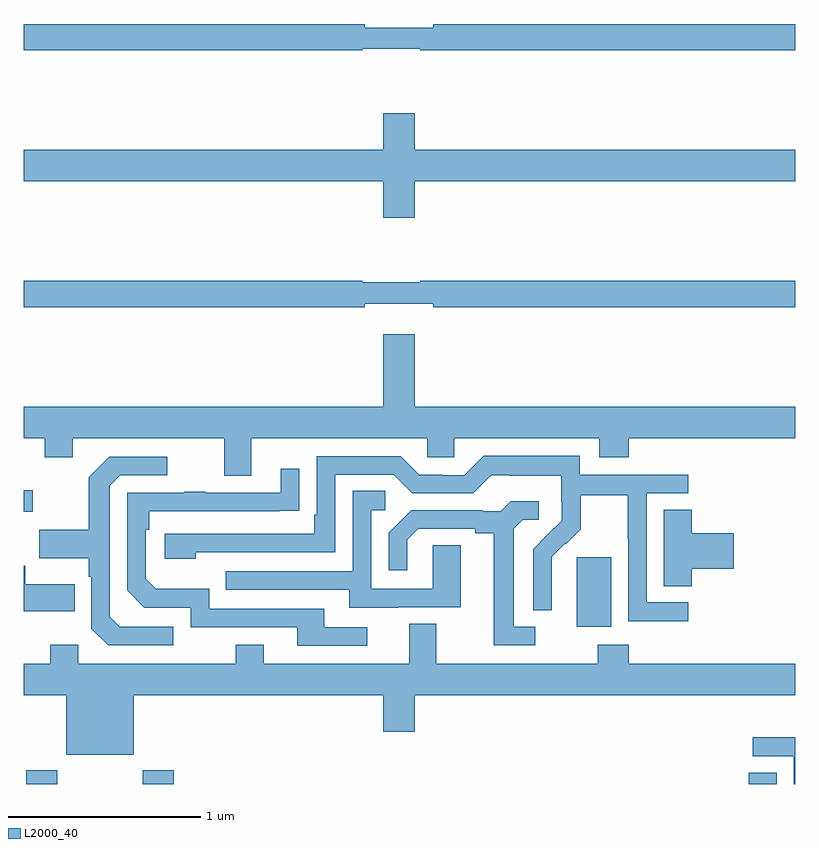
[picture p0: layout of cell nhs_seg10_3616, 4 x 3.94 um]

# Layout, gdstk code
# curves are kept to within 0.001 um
import gdstk
lib = gdstk.Library(unit=1e-6, precision=1e-09)
def R(c, l, rs):  # rectangles x0, y0, x1, y1
    for r in rs: c.add(gdstk.rectangle(r[:2], r[2:], *l))
def P(c, l, *ps):  # polygons
    for p in ps: c.add(gdstk.Polygon(p, *l))
L2000_40 = (2000, 40)

nhs_seg10_3616 = lib.new_cell('nhs_seg10_3616')
R(nhs_seg10_3616, L2000_40, [(307.013,1322.5,307.173,1322.572), (307.618,1322.5,307.778,1322.572), (310.76,1322.5,310.903,1322.558), (309.866,1323.314,310.045,1323.675), (307,1323.911,307.048,1324.024)])
P(nhs_seg10_3616, L2000_40, [(308.755,1326.312),(309.055,1326.312),(309.055,1326.304),(311,1326.304),(311,1326.44),(309.124,1326.44),(309.124,1326.421),(308.768,1326.421),(308.768,1326.44),(307,1326.44),(307,1326.304),(308.755,1326.304)],
  [(309.028,1325.624),(311,1325.624),(311,1325.788),(309.028,1325.788),(309.028,1325.977),(308.864,1325.977),(308.864,1325.788),(307,1325.788),(307,1325.624),(308.864,1325.624),(308.864,1325.436),(309.028,1325.436)],
  [(308.768,1324.991),(309.124,1324.991),(309.124,1324.972),(311,1324.972),(311,1325.108),(309.055,1325.108),(309.055,1325.101),(308.755,1325.101),(308.755,1325.108),(307,1325.108),(307,1324.972),(308.768,1324.972)],
  [(308.179,1324.292),(309.093,1324.292),(309.093,1324.194),(309.231,1324.194),(309.231,1324.292),(309.983,1324.292),(309.983,1324.193),(310.136,1324.193),(310.136,1324.292),(311,1324.292),(311,1324.456),(309.028,1324.456),(309.028,1324.831),(308.864,1324.831),(308.864,1324.456),(307,1324.456),(307,1324.292),(307.108,1324.292),(307.108,1324.193),(307.255,1324.193),(307.255,1324.292),(308.039,1324.292),(308.039,1324.098),(308.179,1324.098)],
  [(310.444,1323.441),(310.23,1323.441),(310.23,1324.008),(310.444,1324.008),(310.444,1324.104),(309.882,1324.104),(309.882,1324.201),(309.385,1324.201),(309.285,1324.101),(309.17,1324.101),(309.17,1324.104),(309.051,1324.104),(308.955,1324.2),(308.52,1324.2),(308.52,1323.895),(308.507,1323.895),(308.507,1323.798),(307.731,1323.798),(307.731,1323.668),(307.892,1323.668),(307.892,1323.702),(308.616,1323.702),(308.616,1324.104),(308.919,1324.104),(309.015,1324.008),(309.33,1324.008),(309.423,1324.101),(309.523,1324.101),(309.523,1324.097),(309.786,1324.097),(309.786,1323.963),(309.788,1323.963),(309.788,1323.866),(309.642,1323.718),(309.642,1323.4),(309.738,1323.4),(309.737,1323.677),(309.807,1323.747),(309.81,1323.744),(309.887,1323.821),(309.887,1323.996),(310.132,1323.996),(310.132,1323.772),(310.134,1323.772),(310.134,1323.343),(310.444,1323.343)],
  [(307.774,1323.315),(307.497,1323.315),(307.446,1323.366),(307.446,1324.047),(307.5,1324.101),(307.744,1324.101),(307.744,1324.197),(307.443,1324.197),(307.338,1324.091),(307.338,1323.819),(307.081,1323.819),(307.081,1323.671),(307.338,1323.671),(307.338,1323.575),(307.35,1323.575),(307.35,1323.306),(307.437,1323.219),(307.774,1323.219)],
  [(308.782,1323.312),(308.557,1323.312),(308.557,1323.408),(307.962,1323.408),(307.962,1323.511),(307.685,1323.511),(307.632,1323.564),(307.632,1323.818),(307.652,1323.818),(307.652,1323.915),(308.429,1323.916),(308.429,1324.135),(308.333,1324.135),(308.333,1324.011),(307.943,1324.011),(307.943,1324.016),(307.831,1324.016),(307.831,1324.011),(307.536,1324.011),(307.536,1323.504),(307.626,1323.414),(307.866,1323.414),(307.866,1323.312),(308.417,1323.312),(308.417,1323.216),(308.782,1323.216)],
  [(308.941,1323.417),(309.265,1323.417),(309.265,1323.737),(309.12,1323.737),(309.12,1323.513),(308.802,1323.513),(308.802,1323.918),(308.875,1323.918),(308.875,1324.019),(308.706,1324.019),(308.706,1323.603),(308.047,1323.603),(308.047,1323.507),(308.687,1323.507),(308.687,1323.413),(308.941,1323.413)],
  [(309.652,1323.315),(309.541,1323.315),(309.541,1323.823),(309.588,1323.87),(309.67,1323.87),(309.67,1323.967),(309.526,1323.967),(309.474,1323.915),(309.38,1323.915),(309.38,1323.918),(309.008,1323.918),(308.892,1323.802),(308.892,1323.609),(308.989,1323.609),(308.989,1323.765),(309.046,1323.822),(309.341,1323.822),(309.341,1323.8),(309.437,1323.8),(309.437,1323.219),(309.652,1323.219)],
  [(310.463,1323.617),(310.681,1323.617),(310.681,1323.8),(310.463,1323.8),(310.463,1323.923),(310.319,1323.923),(310.319,1323.526),(310.463,1323.526)],
  [(307.265,1323.535),(307.009,1323.535),(307.009,1323.631),(307,1323.631),(307,1323.395),(307.265,1323.395)],
  [(309.028,1322.96),(311,1322.96),(311,1323.124),(310.136,1323.124),(310.136,1323.223),(309.976,1323.223),(309.976,1323.124),(309.139,1323.124),(309.139,1323.332),(308.999,1323.332),(308.999,1323.124),(308.245,1323.124),(308.245,1323.223),(308.098,1323.223),(308.098,1323.124),(307.284,1323.124),(307.284,1323.223),(307.138,1323.223),(307.138,1323.124),(307,1323.124),(307,1322.96),(307.22,1322.96),(307.22,1322.651),(307.57,1322.651),(307.57,1322.96),(308.864,1322.96),(308.864,1322.772),(309.028,1322.772)],
  [(311,1322.742),(310.779,1322.742),(310.779,1322.643),(310.992,1322.643),(310.992,1322.5),(311,1322.5)])

lib.write_gds('nhs_seg10_3616.gds')
